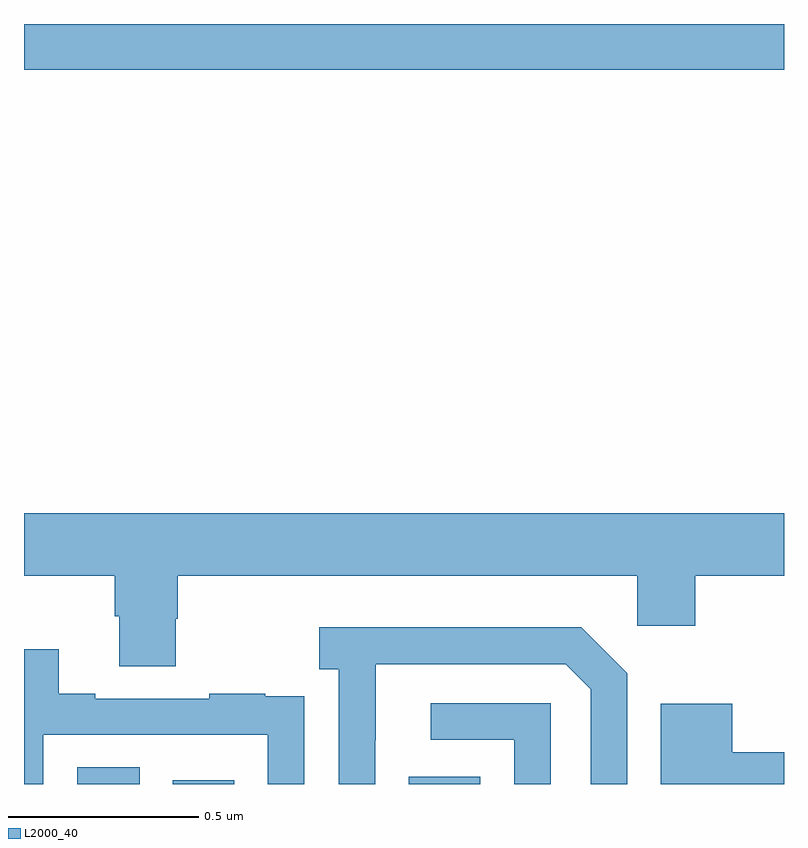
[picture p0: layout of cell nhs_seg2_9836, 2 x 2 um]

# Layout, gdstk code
import gdstk
lib = gdstk.Library(unit=1e-6, precision=1e-09)
def R(c, l, rs):  # rectangles x0, y0, x1, y1
    for r in rs: c.add(gdstk.rectangle(r[:2], r[2:], *l))
def P(c, l, *ps):  # polygons
    for p in ps: c.add(gdstk.Polygon(p, *l))
L2000_40 = (2000, 40)

nhs_seg2_9836 = lib.new_cell('nhs_seg2_9836')
R(nhs_seg2_9836, L2000_40, [(234.14,601.8,234.304,601.844), (234.392,601.8,234.553,601.81), (235.013,601.8,235.201,601.819), (234,603.68,236,603.8)])
P(nhs_seg2_9836, L2000_40, [(234.399,602.235),(234.404,602.235),(234.404,602.348),(235.614,602.348),(235.614,602.217),(235.766,602.217),(235.766,602.348),(236,602.348),(236,602.512),(234,602.512),(234,602.348),(234.239,602.348),(234.239,602.242),(234.251,602.242),(234.251,602.11),(234.399,602.11)],
  [(234.924,601.915),(234.925,601.915),(234.925,602.115),(235.425,602.115),(235.491,602.049),(235.491,601.8),(235.587,601.8),(235.587,602.091),(235.466,602.212),(234.777,602.212),(234.777,602.102),(234.828,602.102),(234.828,601.8),(234.924,601.8)],
  [(234.051,601.929),(234.642,601.929),(234.642,601.8),(234.738,601.8),(234.738,601.922),(234.737,601.922),(234.737,602.031),(234.635,602.031),(234.635,602.038),(234.487,602.038),(234.487,602.025),(234.187,602.025),(234.187,602.038),(234.091,602.038),(234.091,602.155),(234,602.155),(234,601.8),(234.051,601.8)],
  [(235.386,602.013),(235.071,602.013),(235.071,601.917),(235.29,601.917),(235.29,601.8),(235.386,601.8)],
  [(236,601.884),(235.864,601.884),(235.864,602.011),(235.676,602.011),(235.676,601.8),(236,601.8)])

lib.write_gds('nhs_seg2_9836.gds')
